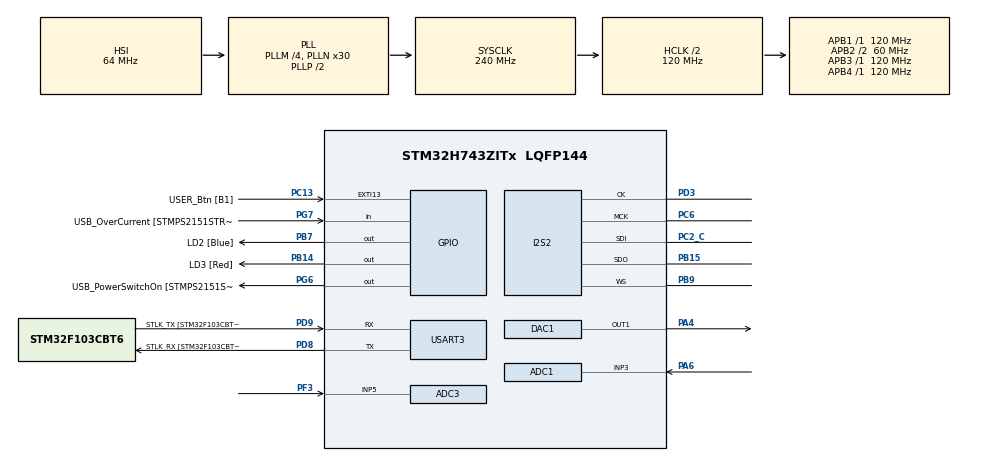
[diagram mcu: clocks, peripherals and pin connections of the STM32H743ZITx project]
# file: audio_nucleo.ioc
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ADC1.Channel-1\#ChannelRegularConversion=ADC_CHANNEL_3
ADC1.NbrOfConversion=1
ADC1.NbrOfConversionFlag=1
ADC1.OffsetNumber-1\#ChannelRegularConversion=ADC_OFFSET_NONE
ADC1.OffsetSignedSaturation-1\#ChannelRegularConversion=DISABLE
ADC1.Rank-1\#ChannelRegularConversion=1
ADC1.SamplingTime-1\#ChannelRegularConversion=ADC_SAMPLETIME_1CYCLE_5
ADC1.master=1
ADC3.Channel-0\#ChannelRegularConversion=ADC_CHANNEL_5
ADC3.NbrOfConversionFlag=1
ADC3.OffsetNumber-0\#ChannelRegularConversion=ADC_OFFSET_NONE
ADC3.OffsetSignedSaturation-0\#ChannelRegularConversion=DISABLE
ADC3.Rank-0\#ChannelRegularConversion=1
ADC3.SamplingTime-0\#ChannelRegularConversion=ADC_SAMPLETIME_1CYCLE_5
DAC1.DAC_Channel-DAC_OUT1=DAC_CHANNEL_1
Dma.ADC1.1.Direction=DMA_PERIPH_TO_MEMORY
Dma.ADC1.1.EventEnable=DISABLE
Dma.ADC1.1.FIFOMode=DMA_FIFOMODE_DISABLE
Dma.ADC1.1.Instance=DMA1_Stream2
Dma.ADC1.1.MemDataAlignment=DMA_MDATAALIGN_HALFWORD
Dma.ADC1.1.MemInc=DMA_MINC_ENABLE
Dma.ADC1.1.Mode=DMA_NORMAL
Dma.ADC1.1.PeriphDataAlignment=DMA_PDATAALIGN_HALFWORD
Dma.ADC1.1.PeriphInc=DMA_PINC_DISABLE
Dma.ADC1.1.Polarity=HAL_DMAMUX_REQ_GEN_RISING
Dma.ADC1.1.Priority=DMA_PRIORITY_LOW
Dma.ADC1.1.RequestNumber=1
Dma.ADC1.1.SignalID=NONE
Dma.ADC1.1.SyncEnable=DISABLE
Dma.ADC1.1.SyncPolarity=HAL_DMAMUX_SYNC_NO_EVENT
Dma.ADC1.1.SyncRequestNumber=1
Dma.ADC1.1.SyncSignalID=NONE
Dma.DAC1_CH1.0.Direction=DMA_MEMORY_TO_PERIPH
Dma.DAC1_CH1.0.EventEnable=DISABLE
Dma.DAC1_CH1.0.FIFOMode=DMA_FIFOMODE_DISABLE
Dma.DAC1_CH1.0.Instance=DMA1_Stream3
Dma.DAC1_CH1.0.MemDataAlignment=DMA_MDATAALIGN_HALFWORD
Dma.DAC1_CH1.0.MemInc=DMA_MINC_ENABLE
Dma.DAC1_CH1.0.Mode=DMA_NORMAL
Dma.DAC1_CH1.0.PeriphDataAlignment=DMA_PDATAALIGN_HALFWORD
Dma.DAC1_CH1.0.PeriphInc=DMA_PINC_DISABLE
Dma.DAC1_CH1.0.Polarity=HAL_DMAMUX_REQ_GEN_RISING
Dma.DAC1_CH1.0.Priority=DMA_PRIORITY_LOW
Dma.DAC1_CH1.0.RequestNumber=1
Dma.DAC1_CH1.0.SignalID=NONE
Dma.DAC1_CH1.0.SyncEnable=DISABLE
Dma.DAC1_CH1.0.SyncPolarity=HAL_DMAMUX_SYNC_NO_EVENT
Dma.DAC1_CH1.0.SyncRequestNumber=1
Dma.DAC1_CH1.0.SyncSignalID=NONE
Dma.Request0=DAC1_CH1
Dma.Request1=ADC1
Dma.Request2=SPI2_RX
Dma.Request3=SPI2_TX
Dma.SPI2_RX.2.Direction=DMA_PERIPH_TO_MEMORY
Dma.SPI2_RX.2.EventEnable=DISABLE
Dma.SPI2_RX.2.FIFOMode=DMA_FIFOMODE_DISABLE
Dma.SPI2_RX.2.Instance=DMA1_Stream0
Dma.SPI2_RX.2.MemDataAlignment=DMA_MDATAALIGN_HALFWORD
Dma.SPI2_RX.2.MemInc=DMA_MINC_ENABLE
Dma.SPI2_RX.2.Mode=DMA_CIRCULAR
Dma.SPI2_RX.2.PeriphDataAlignment=DMA_PDATAALIGN_HALFWORD
Dma.SPI2_RX.2.PeriphInc=DMA_PINC_DISABLE
Dma.SPI2_RX.2.Polarity=HAL_DMAMUX_REQ_GEN_RISING
Dma.SPI2_RX.2.Priority=DMA_PRIORITY_LOW
Dma.SPI2_RX.2.RequestNumber=1
Dma.SPI2_RX.2.SignalID=NONE
Dma.SPI2_RX.2.SyncEnable=DISABLE
Dma.SPI2_RX.2.SyncPolarity=HAL_DMAMUX_SYNC_NO_EVENT
Dma.SPI2_RX.2.SyncRequestNumber=1
Dma.SPI2_RX.2.SyncSignalID=NONE
Dma.SPI2_TX.3.Direction=DMA_MEMORY_TO_PERIPH
Dma.SPI2_TX.3.EventEnable=DISABLE
Dma.SPI2_TX.3.FIFOMode=DMA_FIFOMODE_DISABLE
Dma.SPI2_TX.3.Instance=DMA1_Stream1
Dma.SPI2_TX.3.MemDataAlignment=DMA_MDATAALIGN_HALFWORD
Dma.SPI2_TX.3.MemInc=DMA_MINC_ENABLE
Dma.SPI2_TX.3.Mode=DMA_CIRCULAR
Dma.SPI2_TX.3.PeriphDataAlignment=DMA_PDATAALIGN_HALFWORD
Dma.SPI2_TX.3.PeriphInc=DMA_PINC_DISABLE
Dma.SPI2_TX.3.Polarity=HAL_DMAMUX_REQ_GEN_RISING
Dma.SPI2_TX.3.Priority=DMA_PRIORITY_LOW
Dma.SPI2_TX.3.RequestNumber=1
Dma.SPI2_TX.3.SignalID=NONE
Dma.SPI2_TX.3.SyncEnable=DISABLE
Dma.SPI2_TX.3.SyncPolarity=HAL_DMAMUX_SYNC_NO_EVENT
Dma.SPI2_TX.3.SyncRequestNumber=1
Dma.SPI2_TX.3.SyncSignalID=NONE
FREERTOS.Tasks01=defaultTask,24,128,StartDefaultTask,Default,NULL,Dynamic,NULL,NULL
FREERTOS.configENABLE_FPU=1
FREERTOS.configUSE_NEWLIB_REENTRANT=1
I2S2.AudioFreq=I2S_AUDIOFREQ_48K
I2S2.ErrorAudioFreq=0.15 %
I2S2.Instance=SPI$Index
I2S2.RealAudioFreq=48.076 KHz
Mcu.Family=STM32H7
Mcu.Name=STM32H743ZITx
Mcu.Package=LQFP144
NVIC.DMA1_Stream0_IRQn=true\:5\:0\:false\:false\:true\:true\:false\:true\:true
NVIC.DMA1_Stream1_IRQn=true\:5\:0\:false\:false\:true\:true\:false\:true\:true
NVIC.DMA1_Stream2_IRQn=true\:5\:0\:false\:false\:true\:true\:false\:true\:true
NVIC.DMA1_Stream3_IRQn=true\:5\:0\:false\:false\:true\:true\:false\:true\:true
NVIC.PriorityGroup=NVIC_PRIORITYGROUP_4
NVIC.TIM1_UP_IRQn=true\:15\:0\:false\:false\:true\:false\:false\:true\:true
NVIC.TimeBase=TIM1_UP_IRQn
NVIC.TimeBaseIP=TIM1
NVIC.USART3_IRQn=true\:5\:0\:false\:false\:true\:true\:true\:true\:true
PA1.GPIO_Label=RMII_REF_CLK
PA1.Signal=ETH_REF_CLK
PA10.GPIO_Label=USB_ID
PA10.Signal=USB_OTG_FS_ID
PA11.GPIO_Label=USB_DM
PA11.Signal=USB_OTG_FS_DM
PA12.GPIO_Label=USB_DP
PA12.Signal=USB_OTG_FS_DP
PA13\ (JTMS/SWDIO).GPIO_Label=TMS
PA13\ (JTMS/SWDIO).Signal=DEBUG_JTMS-SWDIO
PA14\ (JTCK/SWCLK).GPIO_Label=TCK
PA14\ (JTCK/SWCLK).Signal=DEBUG_JTCK-SWCLK
PA15\ (JTDI).Signal=I2S1_WS
PA2.GPIO_Label=RMII_MDIO
PA2.Signal=ETH_MDIO
PA4.Signal=COMP_DAC11_group
PA6.Signal=ADCx_INP3
PA7.GPIO_Label=RMII_CRS_DV
PA7.Signal=ETH_CRS_DV
PA8.GPIO_Label=USB_SOF [TP1]
PA8.Signal=USB_OTG_FS_SOF
PA9.GPIO_Label=USB_VBUS
PA9.Signal=USB_OTG_FS_VBUS
PB13.GPIO_Label=RMII_TXD1
PB13.Signal=ETH_TXD1
PB14.GPIO_Label=LD3 [Red]
PB14.Signal=GPIO_Output
PB15.Mode=Full_Duplex_Master
PB15.Signal=I2S2_SDO
PB3\ (JTDO/TRACESWO).GPIO_Label=SWO
PB3\ (JTDO/TRACESWO).Signal=DEBUG_JTDO-SWO
PB4\ (NJTRST).Signal=I2S1_SDI
PB5.Signal=I2S1_SDO
PB7.GPIO_Label=LD2 [Blue]
PB7.Signal=GPIO_Output
PB9.Mode=Full_Duplex_Master
PB9.Signal=I2S2_WS
PC1.GPIO_Label=RMII_MDC
PC1.Signal=ETH_MDC
PC13.GPIO_Label=USER_Btn [B1]
PC13.Signal=GPXTI13
PC14-OSC32_IN\ (OSC32_IN).Signal=RCC_OSC32_IN
PC15-OSC32_OUT\ (OSC32_OUT).Signal=RCC_OSC32_OUT
PC2_C.Mode=Full_Duplex_Master
PC2_C.Signal=I2S2_SDI
PC4.GPIO_Label=RMII_RXD0
PC4.Signal=ETH_RXD0
PC5.GPIO_Label=RMII_RXD1
PC5.Signal=ETH_RXD1
PC6.Mode=Master_Clock_Activated
PC6.Signal=I2S2_MCK
PD3.Mode=Full_Duplex_Master
PD3.Signal=I2S2_CK
PD8.GPIO_Label=STLK_RX [STM32F103CBT6_PA3]
PD8.Mode=Asynchronous
PD8.Signal=USART3_TX
PD9.GPIO_Label=STLK_TX [STM32F103CBT6_PA2]
PD9.Mode=Asynchronous
PD9.Signal=USART3_RX
PF3.Mode=IN5-Single-Ended
PF3.Signal=ADC3_INP5
PG11.GPIO_Label=RMII_TX_EN
PG11.Signal=ETH_TX_EN
PG13.GPIO_Label=RMII_TXD0
PG13.Signal=ETH_TXD0
PG6.GPIO_Label=USB_PowerSwitchOn [STMPS2151STR_EN]
PG6.Signal=GPIO_Output
PG7.GPIO_Label=USB_OverCurrent [STMPS2151STR_FAULT]
PG7.Signal=GPIO_Input
PH0-OSC_IN\ (PH0).GPIO_Label=MCO
PH0-OSC_IN\ (PH0).Signal=RCC_OSC_IN
ProjectManager.HeapSize=0x200
ProjectManager.StackSize=0x400
ProjectManager.TargetToolchain=STM32CubeIDE
RCC.48MHZClocksFreq_Value=24000000
RCC.ADCFreq_Value=2000000
RCC.AHBFreq_Value=216000000
RCC.APB1CLKDivider=RCC_HCLK_DIV4
RCC.APB1Freq_Value=120000000
RCC.APB1TimFreq_Value=108000000
RCC.APB2CLKDivider=RCC_HCLK_DIV2
RCC.APB2Freq_Value=60000000
RCC.APB2TimFreq_Value=216000000
RCC.APB3Freq_Value=120000000
RCC.APB4Freq_Value=120000000
RCC.CortexFreq_Value=240000000
RCC.D2PPRE2=RCC_APB2_DIV2
RCC.DIVM1=4
RCC.DIVN1=30
RCC.DIVN2=128
RCC.DIVP2=128
RCC.DIVQ1=3
RCC.HCLKFreq_Value=120000000
RCC.HPRE=RCC_HCLK_DIV2
RCC.HSE_VALUE=8000000
RCC.HSI_VALUE=64000000
RCC.PLLM=25
RCC.PLLMUL=RCC_PLL_MUL9
RCC.PLLN=432
RCC.PLLQ=9
RCC.PRESCALERUSB=RCC_USBCLKSOURCE_PLL_DIV1_5
RCC.PWR_Regulator_Voltage_Scale=PWR_REGULATOR_VOLTAGE_SCALE1
RCC.SYSCLKFreq_VALUE=240000000
RCC.SYSCLKSource=RCC_SYSCLKSOURCE_PLLCLK
RCC.SYSCLKSourceVirtual=RCC_SYSCLKSOURCE_PLLCLK
RCC.USART234578CLockSelection=RCC_USART234578CLKSOURCE_HSI
RCC.USBFreq_Value=160000000
RCC.VCOOutputFreq_Value=432000000
SH.ADCx_INP3.0=ADC1_INP3,IN3-Single-Ended
SH.COMP_DAC11_group.0=DAC1_OUT1,DAC_OUT1
USART3.VirtualMode-Asynchronous=VM_ASYNC
VP_FREERTOS_VS_CMSIS_V2.Mode=CMSIS_V2
VP_SYS_VS_tim1.Mode=TIM1
board=NUCLEO-H743ZI

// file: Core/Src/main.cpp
/* USER CODE BEGIN Header */
/**
  ******************************************************************************
  * @file           : main.c
  * @brief          : Main program body
  ******************************************************************************
  * @attention
  *
  * Copyright (c) 2023 STMicroelectronics.
  * All rights reserved.
  *
  * This software is licensed under terms that can be found in the LICENSE file
  * in the root directory of this software component.
  * If no LICENSE file comes with this software, it is provided AS-IS.
  *
  ******************************************************************************
  */
/* USER CODE END Header */
#include "main.h"
#include "cmsis_os.h"

/* USER CODE BEGIN Includes */
#include <stdio.h>
#include <string.h>
#include <stdbool.h>
#include "arm_math.h"
#include "cli.hpp"
#include "uart.hpp"
#include "filter.hpp"
/* USER CODE END Includes */

/* USER CODE BEGIN PTD */
#define BUFFER_SIZE 128
#define AUDIO_DATA_READY_FLAG 0x00000001U
/* USER CODE END PTD */

ADC_HandleTypeDef hadc1;
ADC_HandleTypeDef hadc3;
DMA_HandleTypeDef hdma_adc1;

DAC_HandleTypeDef hdac1;
DMA_HandleTypeDef hdma_dac1_ch1;

I2S_HandleTypeDef hi2s2;
DMA_HandleTypeDef hdma_spi2_rx;
DMA_HandleTypeDef hdma_spi2_tx;

UART_HandleTypeDef huart3;

/* Definitions for defaultTask */
osThreadId_t defaultTaskHandle;
const osThreadAttr_t defaultTask_attributes = {
  .name = "defaultTask",
  .stack_size = 128 * 4,
  .priority = (osPriority_t) osPriorityNormal,
};
/* USER CODE BEGIN PV */

osThreadId_t adcTaskHandle;
const osThreadAttr_t adcTask_attr =
{
	.name = "adcTask",
	.stack_size = 128 * 4,
	.priority = (osPriority_t) osPriorityRealtime
};

osThreadId_t cliTaskHandle;
const osThreadAttr_t cliTask_attr =
{
	.name = "cliTask",
	.stack_size = 128 * 4,
	.priority = (osPriority_t) osPriorityNormal
};

osThreadId_t dspTaskHandle;
const osThreadAttr_t dspTask_attr =
{
	.name = "dspTask",
	.stack_size = 128 * 4,
	.priority = (osPriority_t) osPriorityNormal
};

osMutexId_t uartMutexHandle;
const osMutexAttr_t uartMutex_attr =
{
	.name = "uartMutex",
	.attr_bits = osMutexRobust
};

osEventFlagsId_t audioDataReadyFlag;

UART3 uart3;
uint8_t uart_buffer[1];
LOG logger;

CLI<LOG> cli{logger};

int16_t txBuffer[BUFFER_SIZE];
int16_t rxBuffer[BUFFER_SIZE];

float32_t txBufferf[BUFFER_SIZE/2];
float32_t rxBufferf[BUFFER_SIZE/2];

int16_t* pInput;
int16_t* pOutput;

bool data_ready = true;

/*
FIRCoeffs lowpassCoeffs[] =
{
		{fir_coeffs32_0_05, 0.05},
		{fir_coeffs32_0_1, 0.1},
		{fir_coeffs32_0_15, 0.15},
		{fir_coeffs32_0_2, 0.2},
		{fir_coeffs32_0_25, 0.25},
		{fir_coeffs32_0_3, 0.3},
		{fir_coeffs32_0_5, 0.5}
};

FIRCoeffs bandpassCoeffs[] =
{
		{fir_coeffs32_0_005, 0.025},
		{fir_coeffs32_005_01, 0.075},
		{fir_coeffs32_01_015, 0.125},
		{fir_coeffs32_015_02, 0.175},
		{fir_coeffs32_02_025, 0.225},
		{fir_coeffs32_025_035, 0.3},
		{fir_coeffs32_035_045, 0.4}
};
*/

FIRInstance firInstance {fir_coeffs_lut, 32, sizeof(fir_coeffs_lut)/sizeof(float32_t*)};
FIRFilter firFilter {firInstance, 32};

FIRInstance adcCoeffs{fir_coeffs32_LP_lut, 32, sizeof(fir_coeffs32_LP_lut)/sizeof(float32_t*)};
FIRFilter adcFilter {adcCoeffs, 1};

//IIRInstance iirInstance{iir_coeffs_lut, 1, sizeof(iir_coeffs_lut) / sizeof(float32_t*)};
//IIRFilter iirFilter {iirInstance, 32};
/* USER CODE END PV */

void SystemClock_Config(void);
void PeriphCommonClock_Config(void);
static void MX_GPIO_Init(void);
static void MX_DMA_Init(void);
static void MX_ADC1_Init(void);
static void MX_DAC1_Init(void);
static void MX_USART3_UART_Init(void);
static void MX_ADC3_Init(void);
static void MX_I2S2_Init(void);
void StartDefaultTask(void *argument);

/* USER CODE BEGIN PFP */
void ADCTask(void* argument);
void CLITask(void* argument);
void DSPTask(void* argument);

void convert_to_float(int16_t* input, float32_t* output)
{
	for(size_t i = 0; i < BUFFER_SIZE/4; i++)
	{
		output[i] = (float32_t)(input[2*i] + input[2*i + 1]);
	}
}

void convert_to_in16_t(float32_t* input, int16_t* output)
{
	for(size_t i = 0; i < BUFFER_SIZE/4; i++)
	{
		output[2*i]     = (int16_t)input[i];
		output[2*i + 1] = (int16_t)input[i];
	}
}

void process_data()
{
	convert_to_float(pInput, rxBufferf);
	firFilter(rxBufferf, txBufferf, BUFFER_SIZE/4);
	convert_to_in16_t(txBufferf, pOutput);
}
/* USER CODE END PFP */

/* USER CODE BEGIN 0 */

void HAL_UART_RxCpltCallback(UART_HandleTypeDef *huart)
{
	uart3.echo(uart_buffer, sizeof(uart_buffer));
	cli.writeChar(uart_buffer[0]);
	HAL_UART_Receive_IT(&huart3, uart_buffer, 1);
}

void HAL_I2SEx_TxRxCpltCallback(I2S_HandleTypeDef *hi2s)
{
	pInput = &rxBuffer[BUFFER_SIZE/2];
	pOutput = &txBuffer[BUFFER_SIZE/2];
	//osEventFlagsSet(audioDataReadyFlag, AUDIO_DATA_READY_FLAG);
	process_data();
}

void HAL_I2SEx_TxRxHalfCpltCallback(I2S_HandleTypeDef *hi2s)
{
	pInput = &rxBuffer[0];
	pOutput = &txBuffer[0];
	//osEventFlagsSet(audioDataReadyFlag, AUDIO_DATA_READY_FLAG);
	process_data();
}

/* USER CODE END 0 */

int main(void)
{

  /* MCU Configuration--------------------------------------------------------*/

  /* Reset of all peripherals, Initializes the Flash interface and the Systick. */
  HAL_Init();

  /* Configure the system clock */
  SystemClock_Config();

/* Configure the peripherals common clocks */
  PeriphCommonClock_Config();

  /* Initialize all configured peripherals */
  MX_GPIO_Init();
  MX_DMA_Init();
  MX_ADC1_Init();
  MX_DAC1_Init();
  MX_USART3_UART_Init();
  MX_ADC3_Init();
  MX_I2S2_Init();

  /* Init scheduler */
  osKernelInitialize();

  /* USER CODE BEGIN RTOS_MUTEX */
  /* add mutexes, ... */
  uartMutexHandle = osMutexNew(&uartMutex_attr);
  /* USER CODE END RTOS_MUTEX */

  /* USER CODE BEGIN RTOS_QUEUES */
  /* add queues, ... */
  cliMQHandle = osMessageQueueNew(16, sizeof(MessageObject_t), &cliMQ_attr);
  /* USER CODE END RTOS_QUEUES */

  /* Create the thread(s) */
  /* creation of defaultTask */
  defaultTaskHandle = osThreadNew(StartDefaultTask, NULL, &defaultTask_attributes);

  /* USER CODE BEGIN RTOS_EVENTS */
  /* add events, ... */
  audioDataReadyFlag = osEventFlagsNew(NULL);
  if (audioDataReadyFlag == NULL)
  {
	  //cli.log("audio data ready event failure\n\r");
  }

  //cli.log("End init\n\r");
  /* USER CODE END RTOS_EVENTS */

  /* Start scheduler */
  osKernelStart();

  /* We should never get here as control is now taken by the scheduler */
  /* Infinite loop */
  while (1)
  {

  }
}

void SystemClock_Config(void)
{
  RCC_OscInitTypeDef RCC_OscInitStruct = {0};
  RCC_ClkInitTypeDef RCC_ClkInitStruct = {0};

  /** Supply configuration update enable
  */
  HAL_PWREx_ConfigSupply(PWR_LDO_SUPPLY);

  /** Configure the main internal regulator output voltage
  */
  __HAL_PWR_VOLTAGESCALING_CONFIG(PWR_REGULATOR_VOLTAGE_SCALE1);

  while(!__HAL_PWR_GET_FLAG(PWR_FLAG_VOSRDY)) {}

  /** Macro to configure the PLL clock source
  */
  __HAL_RCC_PLL_PLLSOURCE_CONFIG(RCC_PLLSOURCE_HSI);

  /** Initializes the RCC Oscillators according to the specified parameters
  * in the RCC_OscInitTypeDef structure.
  */
  RCC_OscInitStruct.OscillatorType = RCC_OSCILLATORTYPE_HSI;
  RCC_OscInitStruct.HSIState = RCC_HSI_DIV1;
  RCC_OscInitStruct.HSICalibrationValue = RCC_HSICALIBRATION_DEFAULT;
  RCC_OscInitStruct.PLL.PLLState = RCC_PLL_ON;
  RCC_OscInitStruct.PLL.PLLSource = RCC_PLLSOURCE_HSI;
  RCC_OscInitStruct.PLL.PLLM = 4;
  RCC_OscInitStruct.PLL.PLLN = 30;
  RCC_OscInitStruct.PLL.PLLP = 2;
  RCC_OscInitStruct.PLL.PLLQ = 3;
  RCC_OscInitStruct.PLL.PLLR = 2;
  RCC_OscInitStruct.PLL.PLLRGE = RCC_PLL1VCIRANGE_3;
  RCC_OscInitStruct.PLL.PLLVCOSEL = RCC_PLL1VCOWIDE;
  RCC_OscInitStruct.PLL.PLLFRACN = 0;
  if (HAL_RCC_OscConfig(&RCC_OscInitStruct) != HAL_OK)
  {
    Error_Handler();
  }

  /** Initializes the CPU, AHB and APB buses clocks
  */
  RCC_ClkInitStruct.ClockType = RCC_CLOCKTYPE_HCLK|RCC_CLOCKTYPE_SYSCLK
                              |RCC_CLOCKTYPE_PCLK1|RCC_CLOCKTYPE_PCLK2
                              |RCC_CLOCKTYPE_D3PCLK1|RCC_CLOCKTYPE_D1PCLK1;
  RCC_ClkInitStruct.SYSCLKSource = RCC_SYSCLKSOURCE_PLLCLK;
  RCC_ClkInitStruct.SYSCLKDivider = RCC_SYSCLK_DIV1;
  RCC_ClkInitStruct.AHBCLKDivider = RCC_HCLK_DIV2;
  RCC_ClkInitStruct.APB3CLKDivider = RCC_APB3_DIV1;
  RCC_ClkInitStruct.APB1CLKDivider = RCC_APB1_DIV1;
  RCC_ClkInitStruct.APB2CLKDivider = RCC_APB2_DIV2;
  RCC_ClkInitStruct.APB4CLKDivider = RCC_APB4_DIV1;

  if (HAL_RCC_ClockConfig(&RCC_ClkInitStruct, FLASH_LATENCY_1) != HAL_OK)
  {
    Error_Handler();
  }
}

void PeriphCommonClock_Config(void)
{
  RCC_PeriphCLKInitTypeDef PeriphClkInitStruct = {0};

  /** Initializes the peripherals clock
  */
  PeriphClkInitStruct.PeriphClockSelection = RCC_PERIPHCLK_ADC;
  PeriphClkInitStruct.PLL2.PLL2M = 32;
  PeriphClkInitStruct.PLL2.PLL2N = 128;
  PeriphClkInitStruct.PLL2.PLL2P = 128;
  PeriphClkInitStruct.PLL2.PLL2Q = 2;
  PeriphClkInitStruct.PLL2.PLL2R = 2;
  PeriphClkInitStruct.PLL2.PLL2RGE = RCC_PLL2VCIRANGE_1;
  PeriphClkInitStruct.PLL2.PLL2VCOSEL = RCC_PLL2VCOWIDE;
  PeriphClkInitStruct.PLL2.PLL2FRACN = 0;
  PeriphClkInitStruct.AdcClockSelection = RCC_ADCCLKSOURCE_PLL2;
  if (HAL_RCCEx_PeriphCLKConfig(&PeriphClkInitStruct) != HAL_OK)
  {
    Error_Handler();
  }
}

static void MX_ADC1_Init(void)
{

  ADC_MultiModeTypeDef multimode = {0};
  ADC_ChannelConfTypeDef sConfig = {0};

  /** Common config
  */
  hadc1.Instance = ADC1;
  hadc1.Init.ClockPrescaler = ADC_CLOCK_ASYNC_DIV1;
  hadc1.Init.Resolution = ADC_RESOLUTION_16B;
  hadc1.Init.ScanConvMode = ADC_SCAN_DISABLE;
  hadc1.Init.EOCSelection = ADC_EOC_SINGLE_CONV;
  hadc1.Init.LowPowerAutoWait = DISABLE;
  hadc1.Init.ContinuousConvMode = DISABLE;
  hadc1.Init.NbrOfConversion = 1;
  hadc1.Init.DiscontinuousConvMode = DISABLE;
  hadc1.Init.ExternalTrigConv = ADC_SOFTWARE_START;
  hadc1.Init.ExternalTrigConvEdge = ADC_EXTERNALTRIGCONVEDGE_NONE;
  hadc1.Init.ConversionDataManagement = ADC_CONVERSIONDATA_DR;
  hadc1.Init.Overrun = ADC_OVR_DATA_PRESERVED;
  hadc1.Init.LeftBitShift = ADC_LEFTBITSHIFT_NONE;
  hadc1.Init.OversamplingMode = DISABLE;
  if (HAL_ADC_Init(&hadc1) != HAL_OK)
  {
    Error_Handler();
  }

  /** Configure the ADC multi-mode
  */
  multimode.Mode = ADC_MODE_INDEPENDENT;
  if (HAL_ADCEx_MultiModeConfigChannel(&hadc1, &multimode) != HAL_OK)
  {
    Error_Handler();
  }

  /** Configure Regular Channel
  */
  sConfig.Channel = ADC_CHANNEL_3;
  sConfig.Rank = ADC_REGULAR_RANK_1;
  sConfig.SamplingTime = ADC_SAMPLETIME_1CYCLE_5;
  sConfig.SingleDiff = ADC_SINGLE_ENDED;
  sConfig.OffsetNumber = ADC_OFFSET_NONE;
  sConfig.Offset = 0;
  sConfig.OffsetSignedSaturation = DISABLE;
  if (HAL_ADC_ConfigChannel(&hadc1, &sConfig) != HAL_OK)
  {
    Error_Handler();
  }

}

static void MX_ADC3_Init(void)
{

  ADC_ChannelConfTypeDef sConfig = {0};

  /** Common config
  */
  hadc3.Instance = ADC3;
  hadc3.Init.Resolution = ADC_RESOLUTION_16B;
  hadc3.Init.ScanConvMode = ADC_SCAN_DISABLE;
  hadc3.Init.EOCSelection = ADC_EOC_SINGLE_CONV;
  hadc3.Init.LowPowerAutoWait = DISABLE;
  hadc3.Init.ContinuousConvMode = DISABLE;
  hadc3.Init.NbrOfConversion = 1;
  hadc3.Init.DiscontinuousConvMode = DISABLE;
  hadc3.Init.ExternalTrigConv = ADC_SOFTWARE_START;
  hadc3.Init.ExternalTrigConvEdge = ADC_EXTERNALTRIGCONVEDGE_NONE;
  hadc3.Init.ConversionDataManagement = ADC_CONVERSIONDATA_DR;
  hadc3.Init.Overrun = ADC_OVR_DATA_PRESERVED;
  hadc3.Init.LeftBitShift = ADC_LEFTBITSHIFT_NONE;
  hadc3.Init.OversamplingMode = DISABLE;
  if (HAL_ADC_Init(&hadc3) != HAL_OK)
  {
    Error_Handler();
  }

  /** Configure Regular Channel
  */
  sConfig.Channel = ADC_CHANNEL_5;
  sConfig.Rank = ADC_REGULAR_RANK_1;
  sConfig.SamplingTime = ADC_SAMPLETIME_1CYCLE_5;
  sConfig.SingleDiff = ADC_SINGLE_ENDED;
  sConfig.OffsetNumber = ADC_OFFSET_NONE;
  sConfig.Offset = 0;
  sConfig.OffsetSignedSaturation = DISABLE;
  if (HAL_ADC_ConfigChannel(&hadc3, &sConfig) != HAL_OK)
  {
    Error_Handler();
  }

}

static void MX_DAC1_Init(void)
{

  DAC_ChannelConfTypeDef sConfig = {0};

  /** DAC Initialization
  */
  hdac1.Instance = DAC1;
  if (HAL_DAC_Init(&hdac1) != HAL_OK)
  {
    Error_Handler();
  }

  /** DAC channel OUT1 config
  */
  sConfig.DAC_SampleAndHold = DAC_SAMPLEANDHOLD_DISABLE;
  sConfig.DAC_Trigger = DAC_TRIGGER_NONE;
  sConfig.DAC_OutputBuffer = DAC_OUTPUTBUFFER_ENABLE;
  sConfig.DAC_ConnectOnChipPeripheral = DAC_CHIPCONNECT_DISABLE;
  sConfig.DAC_UserTrimming = DAC_TRIMMING_FACTORY;
  if (HAL_DAC_ConfigChannel(&hdac1, &sConfig, DAC_CHANNEL_1) != HAL_OK)
  {
    Error_Handler();
  }

}

static void MX_I2S2_Init(void)
{

  hi2s2.Instance = SPI2;
  hi2s2.Init.Mode = I2S_MODE_MASTER_FULLDUPLEX;
  hi2s2.Init.Standard = I2S_STANDARD_PHILIPS;
  hi2s2.Init.DataFormat = I2S_DATAFORMAT_16B;
  hi2s2.Init.MCLKOutput = I2S_MCLKOUTPUT_ENABLE;
  hi2s2.Init.AudioFreq = I2S_AUDIOFREQ_48K;
  hi2s2.Init.CPOL = I2S_CPOL_LOW;
  hi2s2.Init.FirstBit = I2S_FIRSTBIT_MSB;
  hi2s2.Init.WSInversion = I2S_WS_INVERSION_DISABLE;
  hi2s2.Init.Data24BitAlignment = I2S_DATA_24BIT_ALIGNMENT_RIGHT;
  hi2s2.Init.MasterKeepIOState = I2S_MASTER_KEEP_IO_STATE_DISABLE;
  if (HAL_I2S_Init(&hi2s2) != HAL_OK)
  {
    Error_Handler();
  }

}

static void MX_USART3_UART_Init(void)
{

  huart3.Instance = USART3;
  huart3.Init.BaudRate = 115200;
  huart3.Init.WordLength = UART_WORDLENGTH_8B;
  huart3.Init.StopBits = UART_STOPBITS_1;
  huart3.Init.Parity = UART_PARITY_NONE;
  huart3.Init.Mode = UART_MODE_TX_RX;
  huart3.Init.HwFlowCtl = UART_HWCONTROL_NONE;
  huart3.Init.OverSampling = UART_OVERSAMPLING_16;
  huart3.Init.OneBitSampling = UART_ONE_BIT_SAMPLE_DISABLE;
  huart3.Init.ClockPrescaler = UART_PRESCALER_DIV1;
  huart3.AdvancedInit.AdvFeatureInit = UART_ADVFEATURE_NO_INIT;
  if (HAL_UART_Init(&huart3) != HAL_OK)
  {
    Error_Handler();
  }
  if (HAL_UARTEx_SetTxFifoThreshold(&huart3, UART_TXFIFO_THRESHOLD_1_8) != HAL_OK)
  {
    Error_Handler();
  }
  if (HAL_UARTEx_SetRxFifoThreshold(&huart3, UART_RXFIFO_THRESHOLD_1_8) != HAL_OK)
  {
    Error_Handler();
  }
  if (HAL_UARTEx_DisableFifoMode(&huart3) != HAL_OK)
  {
    Error_Handler();
  }

}

static void MX_DMA_Init(void)
{

  /* DMA controller clock enable */
  __HAL_RCC_DMA1_CLK_ENABLE();

  /* DMA interrupt init */
  /* DMA1_Stream0_IRQn interrupt configuration */
  HAL_NVIC_SetPriority(DMA1_Stream0_IRQn, 5, 0);
  HAL_NVIC_EnableIRQ(DMA1_Stream0_IRQn);
  /* DMA1_Stream1_IRQn interrupt configuration */
  HAL_NVIC_SetPriority(DMA1_Stream1_IRQn, 5, 0);
  HAL_NVIC_EnableIRQ(DMA1_Stream1_IRQn);
  /* DMA1_Stream2_IRQn interrupt configuration */
  HAL_NVIC_SetPriority(DMA1_Stream2_IRQn, 5, 0);
  HAL_NVIC_EnableIRQ(DMA1_Stream2_IRQn);
  /* DMA1_Stream3_IRQn interrupt configuration */
  HAL_NVIC_SetPriority(DMA1_Stream3_IRQn, 5, 0);
  HAL_NVIC_EnableIRQ(DMA1_Stream3_IRQn);

}

static void MX_GPIO_Init(void)
{
  GPIO_InitTypeDef GPIO_InitStruct = {0};

  /* GPIO Ports Clock Enable */
  __HAL_RCC_GPIOC_CLK_ENABLE();
  __HAL_RCC_GPIOF_CLK_ENABLE();
  __HAL_RCC_GPIOH_CLK_ENABLE();
  __HAL_RCC_GPIOA_CLK_ENABLE();
  __HAL_RCC_GPIOB_CLK_ENABLE();
  __HAL_RCC_GPIOD_CLK_ENABLE();
  __HAL_RCC_GPIOG_CLK_ENABLE();

  /*Configure GPIO pin Output Level */
  HAL_GPIO_WritePin(GPIOB, LD3_Pin|LD2_Pin, GPIO_PIN_RESET);

  /*Configure GPIO pin Output Level */
  HAL_GPIO_WritePin(USB_PowerSwitchOn_GPIO_Port, USB_PowerSwitchOn_Pin, GPIO_PIN_RESET);

  /*Configure GPIO pin : USER_Btn_Pin */
  GPIO_InitStruct.Pin = USER_Btn_Pin;
  GPIO_InitStruct.Mode = GPIO_MODE_IT_RISING;
  GPIO_InitStruct.Pull = GPIO_NOPULL;
  HAL_GPIO_Init(USER_Btn_GPIO_Port, &GPIO_InitStruct);

  /*Configure GPIO pins : RMII_MDC_Pin RMII_RXD0_Pin RMII_RXD1_Pin */
  GPIO_InitStruct.Pin = RMII_MDC_Pin|RMII_RXD0_Pin|RMII_RXD1_Pin;
  GPIO_InitStruct.Mode = GPIO_MODE_AF_PP;
  GPIO_InitStruct.Pull = GPIO_NOPULL;
  GPIO_InitStruct.Speed = GPIO_SPEED_FREQ_LOW;
  GPIO_InitStruct.Alternate = GPIO_AF11_ETH;
  HAL_GPIO_Init(GPIOC, &GPIO_InitStruct);

  /*Configure GPIO pins : RMII_REF_CLK_Pin RMII_MDIO_Pin RMII_CRS_DV_Pin */
  GPIO_InitStruct.Pin = RMII_REF_CLK_Pin|RMII_MDIO_Pin|RMII_CRS_DV_Pin;
  GPIO_InitStruct.Mode = GPIO_MODE_AF_PP;
  GPIO_InitStruct.Pull = GPIO_NOPULL;
  GPIO_InitStruct.Speed = GPIO_SPEED_FREQ_LOW;
  GPIO_InitStruct.Alternate = GPIO_AF11_ETH;
  HAL_GPIO_Init(GPIOA, &GPIO_InitStruct);

  /*Configure GPIO pin : RMII_TXD1_Pin */
  GPIO_InitStruct.Pin = RMII_TXD1_Pin;
  GPIO_InitStruct.Mode = GPIO_MODE_AF_PP;
  GPIO_InitStruct.Pull = GPIO_NOPULL;
  GPIO_InitStruct.Speed = GPIO_SPEED_FREQ_LOW;
  GPIO_InitStruct.Alternate = GPIO_AF11_ETH;
  HAL_GPIO_Init(RMII_TXD1_GPIO_Port, &GPIO_InitStruct);

  /*Configure GPIO pins : LD3_Pin LD2_Pin */
  GPIO_InitStruct.Pin = LD3_Pin|LD2_Pin;
  GPIO_InitStruct.Mode = GPIO_MODE_OUTPUT_PP;
  GPIO_InitStruct.Pull = GPIO_NOPULL;
  GPIO_InitStruct.Speed = GPIO_SPEED_FREQ_LOW;
  HAL_GPIO_Init(GPIOB, &GPIO_InitStruct);

  /*Configure GPIO pin : USB_PowerSwitchOn_Pin */
  GPIO_InitStruct.Pin = USB_PowerSwitchOn_Pin;
  GPIO_InitStruct.Mode = GPIO_MODE_OUTPUT_PP;
  GPIO_InitStruct.Pull = GPIO_NOPULL;
  GPIO_InitStruct.Speed = GPIO_SPEED_FREQ_LOW;
  HAL_GPIO_Init(USB_PowerSwitchOn_GPIO_Port, &GPIO_InitStruct);

  /*Configure GPIO pin : USB_OverCurrent_Pin */
  GPIO_InitStruct.Pin = USB_OverCurrent_Pin;
  GPIO_InitStruct.Mode = GPIO_MODE_INPUT;
  GPIO_InitStruct.Pull = GPIO_NOPULL;
  HAL_GPIO_Init(USB_OverCurrent_GPIO_Port, &GPIO_InitStruct);

  /*Configure GPIO pins : USB_SOF_Pin USB_ID_Pin USB_DM_Pin USB_DP_Pin */
  GPIO_InitStruct.Pin = USB_SOF_Pin|USB_ID_Pin|USB_DM_Pin|USB_DP_Pin;
  GPIO_InitStruct.Mode = GPIO_MODE_AF_PP;
  GPIO_InitStruct.Pull = GPIO_NOPULL;
  GPIO_InitStruct.Speed = GPIO_SPEED_FREQ_LOW;
  GPIO_InitStruct.Alternate = GPIO_AF10_OTG1_FS;
  HAL_GPIO_Init(GPIOA, &GPIO_InitStruct);

  /*Configure GPIO pin : PA15 */
  GPIO_InitStruct.Pin = GPIO_PIN_15;
  GPIO_InitStruct.Mode = GPIO_MODE_AF_PP;
  GPIO_InitStruct.Pull = GPIO_NOPULL;
  GPIO_InitStruct.Speed = GPIO_SPEED_FREQ_LOW;
  GPIO_InitStruct.Alternate = GPIO_AF5_SPI1;
  HAL_GPIO_Init(GPIOA, &GPIO_InitStruct);

  /*Configure GPIO pins : RMII_TX_EN_Pin RMII_TXD0_Pin */
  GPIO_InitStruct.Pin = RMII_TX_EN_Pin|RMII_TXD0_Pin;
  GPIO_InitStruct.Mode = GPIO_MODE_AF_PP;
  GPIO_InitStruct.Pull = GPIO_NOPULL;
  GPIO_InitStruct.Speed = GPIO_SPEED_FREQ_LOW;
  GPIO_InitStruct.Alternate = GPIO_AF11_ETH;
  HAL_GPIO_Init(GPIOG, &GPIO_InitStruct);

  /*Configure GPIO pins : PB4 PB5 */
  GPIO_InitStruct.Pin = GPIO_PIN_4|GPIO_PIN_5;
  GPIO_InitStruct.Mode = GPIO_MODE_AF_PP;
  GPIO_InitStruct.Pull = GPIO_NOPULL;
  GPIO_InitStruct.Speed = GPIO_SPEED_FREQ_LOW;
  GPIO_InitStruct.Alternate = GPIO_AF5_SPI1;
  HAL_GPIO_Init(GPIOB, &GPIO_InitStruct);

}

/* USER CODE BEGIN 4 */
void ADCTask(void* argument)
{
	cli.log("ADC Task started\n\r");
	uint8_t value_string[30];
	int32_t data = 0;
	float32_t dataF = 0;
	for(;;)
	{
		osDelay(10);
		HAL_ADC_Start(&hadc1);
		data = HAL_ADC_GetValue(&hadc1);
		dataF = (float32_t) data;
		adcFilter(&dataF, &dataF, 1);
		data = (uint16_t) dataF;
		//uint16_t length = snprintf(NULL, 0, "%d\n\r", data);
		//snprintf((char*)value_string, length + 1, "%d\n\r", data);
		//HAL_Delay(1);
		//HAL_UART_Transmit_IT(&huart3, value_string, length);
		//HAL_Delay(1);
		//update_fir_coeffs(data);
		firFilter.updateCoeffs(data);
	}
}

void CLITask(void* argument)
{
	cli.log("CLI Task started\n\r");
	HAL_UART_Receive_IT(&huart3, uart_buffer, 1);
	MessageObject_t message;
	for(;;)
	{
		if (osMessageQueueGet(cliMQHandle, &message, NULL, osWaitForever) == osOK)
		{
			uart3.send(message.message, message.length);
		}
		osDelay(10);
	}
}

void DSPTask(void* argument)
{
	cli.log("DSP Task started\n\r");
	uint32_t flag = 0;

	for(;;)
	{
		flag = osEventFlagsWait(audioDataReadyFlag, AUDIO_DATA_READY_FLAG, osFlagsWaitAny, osWaitForever);
		if (flag == AUDIO_DATA_READY_FLAG)
		{
			cli.log("Data ready to process\n\r");
			process_data();
		}
	}
}
/* USER CODE END 4 */

void StartDefaultTask(void *argument)
{
  /* USER CODE BEGIN 5 */

	cliTaskHandle = osThreadNew(CLITask, NULL, &cliTask_attr);
	cli.clear(NULL, NULL);
	cli.log("Default Task started\n\r");
	adcTaskHandle = osThreadNew(ADCTask, NULL, &adcTask_attr);
	//dspTaskHandle = osThreadNew(DSPTask, NULL, &dspTask_attr);

	HAL_I2SEx_TransmitReceive_DMA(&hi2s2, (uint16_t*) txBuffer, (uint16_t*) rxBuffer, BUFFER_SIZE);
	//HAL_UART_Transmit_IT(&huart3, data, sizeof(data));
  /* Infinite loop */
  for(;;)
  {

  }
  /* USER CODE END 5 */
}

void HAL_TIM_PeriodElapsedCallback(TIM_HandleTypeDef *htim)
{
  if (htim->Instance == TIM1) {
    HAL_IncTick();
  }
}

void Error_Handler(void)
{
  __disable_irq();
  while (1)
  {
  }
}
